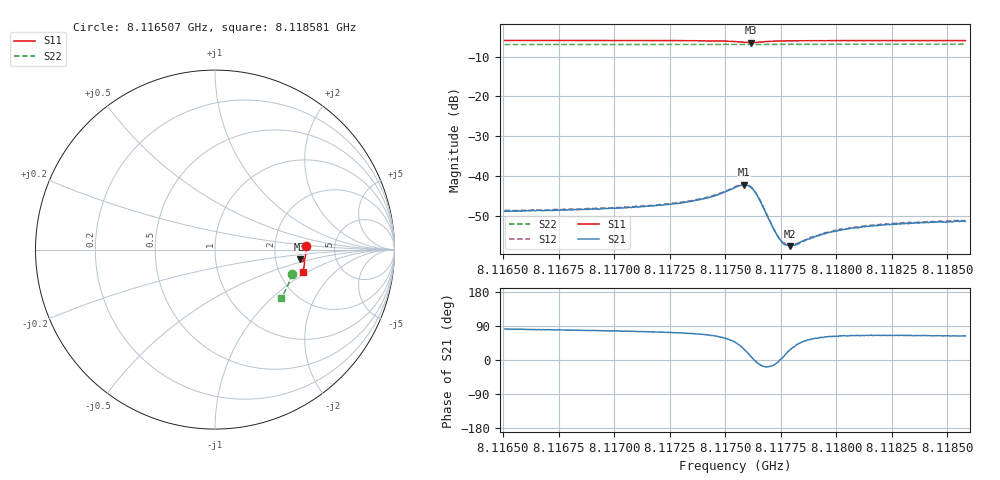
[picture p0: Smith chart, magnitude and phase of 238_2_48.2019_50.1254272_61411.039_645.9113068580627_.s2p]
#  HZ  S  RI  R  50.00
! Rohde & Schwarz Vector Network Analyzer
! Rohde-Schwarz,ZNB20-2Port,1311601062101988,3.16
! Created: UTC 3/20/2024, 11:46:44 AM
! freq[Hz]  re:S11  im:S11  re:S21  im:S21  re:S12  im:S12  re:S22  im:S22
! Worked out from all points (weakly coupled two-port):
!   401 points, 8.116507 GHz to 8.118581 GHz, reference 50 ohm
!   highest |S21| = -42.20 dB at 8.117586 GHz (marker M1); lowest = -57.7 dB at 8.117793 GHz (marker M2)
!   lowest |S11| = -6.4 dB at 8.117617 GHz (marker M3), VSWR 2.82, Z = 138 - j19.5 ohm
!   |S11| at or under -10 dB: nowhere
!   |S22| runs from -6.9 to -6.8 dB; largest |S21 - S12| = 0.00022
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8.1165073e9  0.5065 0.0206  0.000517 0.00356  0.000564 0.00362  0.4286 -0.1363
8.1168546e9  0.5063 -0.00614  0.000759 0.00372  0.000833 0.00373  0.4215 -0.1594
8.117202e9  0.5042 -0.0339  0.00121 0.00413  0.00124 0.00419  0.4132 -0.1821
8.1173005e9  0.5029 -0.0423  0.00145 0.00433  0.00151 0.00443  0.4105 -0.1885
8.117399e9  0.5003 -0.0518  0.00196 0.00474  0.00208 0.00482  0.4078 -0.195
8.1174664e9  0.4968 -0.0592  0.00271 0.00513  0.00283 0.00522  0.4057 -0.1993
8.1175442e9  0.4863 -0.0668  0.00488 0.00522  0.00505 0.00529  0.4031 -0.2044
8.1175857e9  0.4762 -0.064  0.00685 0.00366  0.007 0.00369  0.4014 -0.2064
8.1176012e9  0.4734 -0.06  0.0072 0.00245  0.00736 0.00243  0.401 -0.2073
8.1176168e9  0.4729 -0.0547  0.00709 0.00106  0.0072 0.00103  0.4005 -0.208
8.1176323e9  0.4751 -0.0499  0.00639 -0.000113  0.00651 -0.000198  0.4003 -0.2086
8.1176479e9  0.4791 -0.047  0.00537 -0.000839  0.00543 -0.000924  0.4002 -0.2094
8.1177153e9  0.4937 -0.051  0.00216 -0.000574  0.00219 -0.000597  0.3988 -0.214
8.1177412e9  0.496 -0.0546  0.00165 -8.61e-05  0.00167 -0.000131  0.3982 -0.2157
8.1177671e9  0.4973 -0.058  0.00135 0.000272  0.00141 0.000267  0.3973 -0.2175
8.1177931e9  0.4981 -0.0613  0.00116 0.000609  0.00121 0.000653  0.3965 -0.2191
8.1178242e9  0.4987 -0.0649  0.00103 0.000916  0.00108 0.000906  0.3956 -0.2211
8.1178916e9  0.4988 -0.072  0.000958 0.00137  0.000979 0.00136  0.3934 -0.2254
8.1179641e9  0.4983 -0.0787  0.000919 0.00171  0.00097 0.00172  0.3912 -0.2298
8.1180523e9  0.4974 -0.0863  0.000946 0.00195  0.000968 0.00194  0.3881 -0.2352
8.1182389e9  0.4947 -0.1011  0.00104 0.00221  0.00108 0.00227  0.3817 -0.2468
8.1185811e9  0.4886 -0.1267  0.0012 0.00241  0.00122 0.00243  0.369 -0.2672
